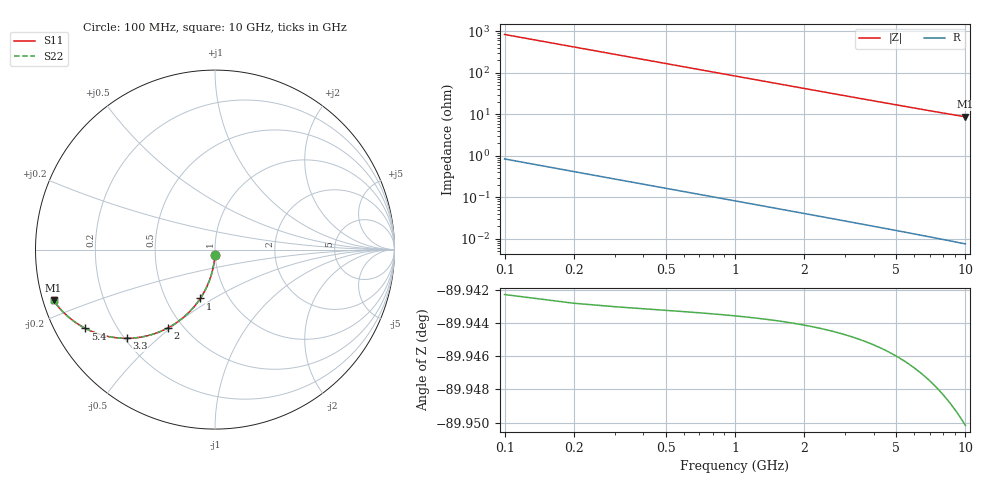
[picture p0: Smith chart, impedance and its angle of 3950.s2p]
# Hz S RI R 50.00
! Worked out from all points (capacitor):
!   100 points, 100 MHz to 10 GHz, reference 50 ohm
!   read as one part in shunt: C = 1.9 pF near 100 MHz
!   lowest |Z| = 8.72 ohm at 10 GHz (marker M1)
!   S11 on the Smith chart (normalised r, x): 100 MHz: 1.00, -0.06; 1 GHz: 0.74, -0.44; 2 GHz: 0.41, -0.49; 3.3 GHz: 0.21, -0.40; 5.4 GHz: 0.09, -0.28; 10 GHz: 0.03, -0.15
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1e8  -0.000881 -0.0297  0.999 -0.03  0.999 -0.03  -0.000881 -0.0297
2e8  -0.00357 -0.0592  0.9964 -0.0598  0.9964 -0.0598  -0.00357 -0.0592
3e8  -0.008 -0.0883  0.9919 -0.0893  0.9919 -0.0893  -0.008 -0.0883
4e8  -0.0141 -0.117  0.9858 -0.1183  0.9858 -0.1183  -0.0141 -0.117
5e8  -0.0219 -0.1451  0.978 -0.1467  0.978 -0.1467  -0.0219 -0.1451
6e8  -0.0312 -0.1725  0.9687 -0.1743  0.9687 -0.1743  -0.0312 -0.1725
7e8  -0.0419 -0.199  0.958 -0.2011  0.958 -0.2011  -0.0419 -0.199
8e8  -0.0541 -0.2245  0.9459 -0.227  0.9459 -0.227  -0.0541 -0.2245
1e9  -0.0819 -0.2723  0.918 -0.2754  0.918 -0.2754  -0.0819 -0.2723
1.2e9  -0.1138 -0.3153  0.8861 -0.319  0.8861 -0.319  -0.1138 -0.3153
1.4e9  -0.1487 -0.3532  0.8512 -0.3575  0.8512 -0.3575  -0.1487 -0.3532
1.8e9  -0.2239 -0.4136  0.776 -0.4192  0.776 -0.4192  -0.2239 -0.4136
2e9  -0.2626 -0.4365  0.7373 -0.4427  0.7373 -0.4427  -0.2626 -0.4365
2.6e9  -0.3756 -0.4797  0.6243 -0.4878  0.6243 -0.4878  -0.3756 -0.4797
3.3e9  -0.492 -0.4943  0.5079 -0.5046  0.5079 -0.5046  -0.492 -0.4943
3.4e9  -0.5069 -0.4941  0.493 -0.5047  0.493 -0.5047  -0.5069 -0.4941
4.2e9  -0.6106 -0.4805  0.3892 -0.4937  0.3892 -0.4937  -0.6106 -0.4805
5.1e9  -0.6981 -0.4505  0.3016 -0.4665  0.3016 -0.4665  -0.6981 -0.4505
5.4e9  -0.7217 -0.4391  0.2781 -0.4561  0.2781 -0.4561  -0.7217 -0.4391
6.7e9  -0.7999 -0.3888  0.1998 -0.4101  0.1998 -0.4101  -0.7999 -0.3888
8.4e9  -0.8631 -0.3295  0.1364 -0.3564  0.1364 -0.3564  -0.8631 -0.3295
1e10  -0.8998 -0.2832  0.0996 -0.3156  0.0996 -0.3156  -0.8998 -0.2832
